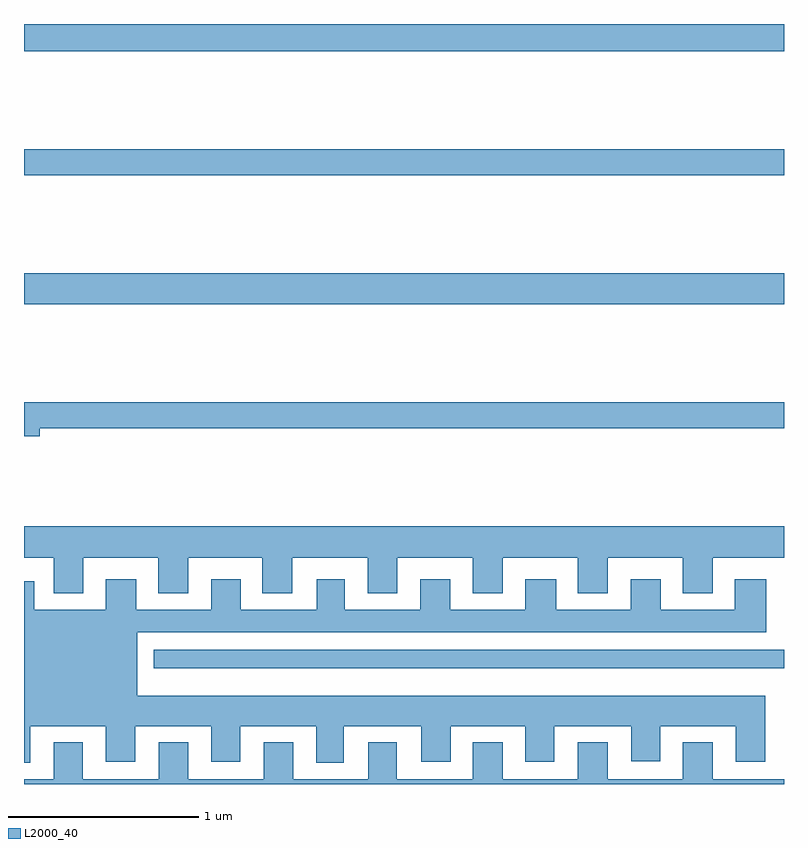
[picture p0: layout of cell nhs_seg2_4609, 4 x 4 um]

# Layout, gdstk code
import gdstk
lib = gdstk.Library(unit=1e-6, precision=1e-09)
def R(c, l, rs):  # rectangles x0, y0, x1, y1
    for r in rs: c.add(gdstk.rectangle(r[:2], r[2:], *l))
def P(c, l, *ps):  # polygons
    for p in ps: c.add(gdstk.Polygon(p, *l))
L2000_40 = (2000, 40)

nhs_seg2_4609 = lib.new_cell('nhs_seg2_4609')
R(nhs_seg2_4609, L2000_40, [(361.682,624.41,365,624.507), (361,626.324,365,626.488), (361,627.004,365,627.14), (361,627.656,365,627.8)])
P(nhs_seg2_4609, L2000_40, [(361.084,625.672),(365,625.672),(365,625.808),(361,625.808),(361,625.63),(361.084,625.63)],
  [(361.312,624.992),(361.706,624.992),(361.706,624.803),(361.864,624.803),(361.864,624.992),(362.255,624.992),(362.255,624.803),(362.413,624.803),(362.413,624.992),(362.81,624.992),(362.81,624.803),(362.965,624.803),(362.965,624.992),(363.362,624.992),(363.362,624.803),(363.52,624.803),(363.52,624.992),(363.914,624.992),(363.914,624.803),(364.072,624.803),(364.072,624.992),(364.466,624.992),(364.466,624.803),(364.624,624.803),(364.624,624.992),(365,624.992),(365,625.156),(361,625.156),(361,624.992),(361.157,624.992),(361.157,624.803),(361.312,624.803)],
  [(361.033,624.104),(361.43,624.104),(361.43,623.916),(361.585,623.916),(361.585,624.104),(361.985,624.104),(361.985,623.916),(362.137,623.916),(362.137,624.104),(362.537,624.104),(362.537,623.913),(362.683,623.913),(362.683,624.104),(363.092,624.104),(363.092,623.916),(363.247,623.916),(363.247,624.104),(363.638,624.104),(363.638,623.916),(363.79,623.916),(363.79,624.104),(364.196,624.104),(364.196,623.919),(364.348,623.919),(364.348,624.104),(364.745,624.104),(364.745,623.916),(364.9,623.916),(364.9,624.265),(361.597,624.265),(361.597,624.599),(364.906,624.599),(364.906,624.877),(364.742,624.877),(364.742,624.718),(364.351,624.718),(364.351,624.877),(364.193,624.877),(364.193,624.718),(363.802,624.718),(363.802,624.877),(363.638,624.877),(363.638,624.718),(363.244,624.718),(363.244,624.877),(363.086,624.877),(363.086,624.718),(362.689,624.718),(362.689,624.877),(362.54,624.877),(362.54,624.718),(362.14,624.718),(362.14,624.877),(361.985,624.877),(361.985,624.718),(361.591,624.718),(361.591,624.877),(361.43,624.877),(361.43,624.718),(361.054,624.718),(361.054,624.868),(361,624.868),(361,623.913),(361.033,623.913)],
  [(365,623.824),(364.624,623.824),(364.624,624.019),(364.466,624.019),(364.466,623.824),(364.072,623.824),(364.072,624.019),(363.914,624.019),(363.914,623.824),(363.52,623.824),(363.52,624.019),(363.362,624.019),(363.362,623.824),(362.962,623.824),(362.962,624.019),(362.813,624.019),(362.813,623.824),(362.416,623.824),(362.416,624.019),(362.261,624.019),(362.261,623.824),(361.864,623.824),(361.864,624.019),(361.709,624.019),(361.709,623.824),(361.309,623.824),(361.309,624.019),(361.157,624.019),(361.157,623.824),(361,623.824),(361,623.8),(365,623.8)])

lib.write_gds('nhs_seg2_4609.gds')
